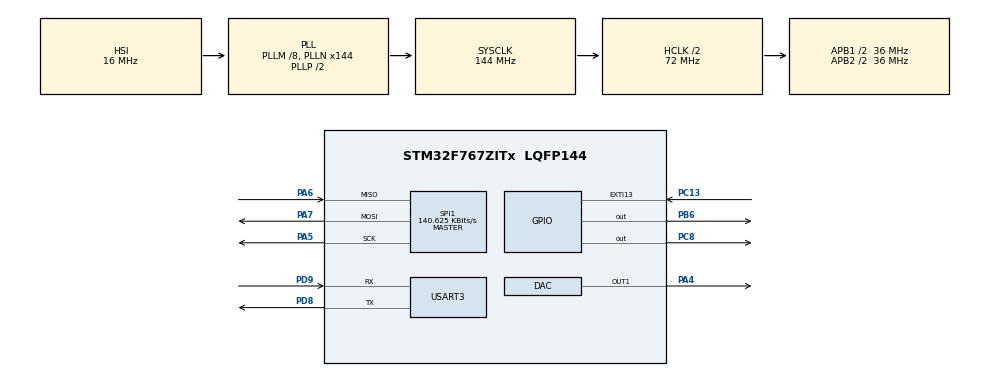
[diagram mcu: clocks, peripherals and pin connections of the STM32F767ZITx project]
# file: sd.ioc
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CORTEX_M7.default_mode_Activation=1
DAC.DAC_Trigger=DAC_TRIGGER_T6_TRGO
DAC.TriangleAmplitude=DAC_TRIANGLEAMPLITUDE_1
DAC.WaveGeneration=TriangleWaveGeneration
Dma.DAC1.0.Direction=DMA_MEMORY_TO_PERIPH
Dma.DAC1.0.FIFOMode=DMA_FIFOMODE_DISABLE
Dma.DAC1.0.Instance=DMA1_Stream5
Dma.DAC1.0.MemDataAlignment=DMA_MDATAALIGN_HALFWORD
Dma.DAC1.0.MemInc=DMA_MINC_ENABLE
Dma.DAC1.0.Mode=DMA_CIRCULAR
Dma.DAC1.0.PeriphDataAlignment=DMA_PDATAALIGN_HALFWORD
Dma.DAC1.0.PeriphInc=DMA_PINC_DISABLE
Dma.DAC1.0.Priority=DMA_PRIORITY_HIGH
Dma.Request0=DAC1
Mcu.Family=STM32F7
Mcu.Name=STM32F767ZITx
Mcu.Package=LQFP144
NVIC.DMA1_Stream5_IRQn=true\:3\:0\:true\:false\:true\:false\:true\:true
NVIC.EXTI15_10_IRQn=true\:0\:0\:true\:false\:true\:true\:true\:true
NVIC.PriorityGroup=NVIC_PRIORITYGROUP_2
NVIC.USART3_IRQn=true\:0\:0\:false\:false\:true\:true\:true\:true
PA4.Signal=COMP_DAC1_group
PA5.Mode=Full_Duplex_Master
PA5.Signal=SPI1_SCK
PA6.Mode=Full_Duplex_Master
PA6.Signal=SPI1_MISO
PA7.Mode=Full_Duplex_Master
PA7.Signal=SPI1_MOSI
PB6.Signal=GPIO_Output
PC13.Signal=GPXTI13
PC8.Signal=GPIO_Output
PD8.Mode=Asynchronous
PD8.Signal=USART3_TX
PD9.Mode=Asynchronous
PD9.Signal=USART3_RX
ProjectManager.HeapSize=0x200
ProjectManager.StackSize=0x400
ProjectManager.TargetToolchain=STM32CubeIDE
RCC.AHBCLKDivider=RCC_SYSCLK_DIV2
RCC.AHBFreq_Value=72000000
RCC.APB1CLKDivider=RCC_HCLK_DIV2
RCC.APB1Freq_Value=36000000
RCC.APB1TimFreq_Value=72000000
RCC.APB2CLKDivider=RCC_HCLK_DIV2
RCC.APB2Freq_Value=36000000
RCC.APB2TimFreq_Value=72000000
RCC.CortexFreq_Value=72000000
RCC.HCLKFreq_Value=72000000
RCC.HSE_VALUE=25000000
RCC.HSI_VALUE=16000000
RCC.LSE_VALUE=32768
RCC.PLLM=8
RCC.PLLN=144
RCC.SYSCLKFreq_VALUE=144000000
RCC.SYSCLKSource=RCC_SYSCLKSOURCE_PLLCLK
RCC.USBFreq_Value=144000000
RCC.VCOOutputFreq_Value=288000000
SH.COMP_DAC1_group.0=DAC_OUT1,DAC_OUT1
SPI1.BaudRatePrescaler=SPI_BAUDRATEPRESCALER_256
SPI1.CalculateBaudRate=140.625 KBits/s
SPI1.DataSize=SPI_DATASIZE_8BIT
SPI1.Direction=SPI_DIRECTION_2LINES
SPI1.Mode=SPI_MODE_MASTER
SPI1.VirtualType=VM_MASTER
TIM6.Period=44100
TIM6.Prescaler=72
TIM6.TIM_MasterOutputTrigger=TIM_TRGO_UPDATE
USART3.VirtualMode-Asynchronous=VM_ASYNC
VP_FATFS_VS_Generic.Mode=User_defined
VP_TIM6_VS_ClockSourceINT.Mode=Enable_Timer
board=custom

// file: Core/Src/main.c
/* USER CODE BEGIN Header */
/**
  ******************************************************************************
  * @file           : main.c
  * @brief          : Main program body
  ******************************************************************************
  * @attention
  *
  * Copyright (c) 2025 STMicroelectronics.
  * All rights reserved.
  *
  * This software is licensed under terms that can be found in the LICENSE file
  * in the root directory of this software component.
  * If no LICENSE file comes with this software, it is provided AS-IS.
  *
  ******************************************************************************
  */
/* USER CODE END Header */
#include "main.h"
#include "fatfs.h"

/* USER CODE BEGIN Includes */
#include <stdio.h>
#include <string.h>
/* USER CODE END Includes */

/* USER CODE BEGIN PTD */

#define WAVE_HEADER_SIZE 44
#define BUFFER_SIZE 512

FATFS FatFs;    // ไฟล์ระบบ FatFs
FRESULT res;    // ตัวแปรเก็บผลการทำงาน
UINT bytesRead;        // ตัวแปรเก็บจำนวนไบต์ที่อ่านได้
FILINFO fno;   // File information object
DIR dir;       // Directory object

//WAV_InfoTypeDef currentAudio;

#define WAV_FILE_NAME "0:/A16_44.wav"
#define DAC_OUTPUT_PIN    GPIO_PIN_4

FIL wavFile;

char buff[100];

uint8_t playFlag = 0;

/* USER CODE END PTD */

/* USER CODE BEGIN PD */

typedef struct {
    char riff[4];           // "RIFF"
    uint32_t chunkSize;     // ขนาดไฟล์
    char wave[4];           // "WAVE"
    char fmt[4];            // "fmt "
    uint32_t fmtSize;       // ขนาดของข้อมูล format
    uint16_t audioFormat;   // รูปแบบไฟล์ (PCM = 1)
    uint16_t numChannels;   // จำนวน Channel (1 = Mono, 2 = Stereo)
    uint32_t sampleRate;    // Sample Rate เช่น 44100 Hz
    uint32_t byteRate;      // จำนวน bytes per second
    uint16_t blockAlign;    // จำนวน byte ต่อ 1 sample
    uint16_t bitsPerSample; // จำนวน bit ต่อ 1 sample
    char data[4];           // "data"
    uint32_t dataSize;      // ขนาดของข้อมูลเสียง
} WAV_HEADER;

WAV_HEADER wavHeader;

#define BUFFER_SIZE 512
int16_t audioBuffer1[BUFFER_SIZE];
int16_t audioBuffer2[BUFFER_SIZE];
uint8_t activeBuffer = 0;
uint16_t dmaBuffer[BUFFER_SIZE];
volatile uint8_t bufferReady = 0;

/* USER CODE END PD */

DAC_HandleTypeDef hdac;
DMA_HandleTypeDef hdma_dac1;

SPI_HandleTypeDef hspi1;

TIM_HandleTypeDef htim6;

UART_HandleTypeDef huart3;

void SystemClock_Config(void);
static void MPU_Config(void);
static void MX_GPIO_Init(void);
static void MX_DMA_Init(void);
static void MX_SPI1_Init(void);
static void MX_USART3_UART_Init(void);
static void MX_DAC_Init(void);
static void MX_TIM6_Init(void);

/* USER CODE BEGIN 0 */

//void Convert_16bit_to_12bit(uint16_t *buffer, uint32_t length) {
//    for (uint32_t i = 0; i < length; i++) {
//        // ลดขนาดจาก 16-bit เป็น 12-bit และป้องกันค่าที่เกินขอบเขต
//        buffer[i] = (buffer[i] >> 4) & 0x0FFF;  // เฉพาะ 12 บิตแรก
//    }
//}

void Convert_16bit_to_12bit(int16_t *buffer, uint32_t samples) {
    for (uint32_t i = 0; i < samples; i++) {
        buffer[i] = ((int32_t)buffer[i] + 32768) >> 4;  // Shift and normalize
    }
}

//void Convert_16bit_to_12bit(int16_t *input, uint16_t *output, uint32_t samples) {
//    for (uint32_t i = 0; i < samples; i++) {
//        output[i] = ((int32_t)input[i] + 32768) >> 4;  // Convert to 12-bit
//    }
//}

FRESULT open_wav_file() {
    FRESULT res = f_mount(&FatFs, "", 1);

    // Mount SD card
	if (res != FR_OK) {
		memset(buff, 0, sizeof(buff));
		sprintf(buff, "Error mounting SD card! Error code: %d\r\n", res);
		HAL_UART_Transmit(&huart3, (uint8_t*)buff, sizeof(buff), 100);
		return res;
	}

	// เปิดไฟล์ WAV
	res = f_open(&wavFile, WAV_FILE_NAME, FA_READ);
    if (res != FR_OK) {
    	memset(buff, 0, sizeof(buff));
		sprintf(buff, "Error opening WAV file! Error code: %d\r\n", res);
		HAL_UART_Transmit(&huart3, (uint8_t*)buff, sizeof(buff), 100);
        return res;
    }

    // อ่าน WAV Header
    f_read(&wavFile, &wavHeader, sizeof(WAV_HEADER), &bytesRead);
	if (bytesRead != sizeof(WAV_HEADER) || wavHeader.audioFormat != 1) {
		memset(buff, 0, sizeof(buff));
		sprintf(buff, "Invalid WAV file!\r\n");
		HAL_UART_Transmit(&huart3, (uint8_t*)buff, sizeof(buff), 100);
		return FR_INVALID_OBJECT;
	}

	// แสดงข้อมูลของไฟล์ WAV
	memset(buff, 0, sizeof(buff));
	sprintf(buff, "Sample Rate: %lu Hz, Bits Per Sample: %d, Channels: %d\r\n",
	            wavHeader.sampleRate, wavHeader.bitsPerSample, wavHeader.numChannels);
	    HAL_UART_Transmit(&huart3, (uint8_t*)buff, sizeof(buff), 100);

    // ข้าม header ของไฟล์ WAV (44 bytes)
    f_lseek(&wavFile, 44);  // ข้าม header ของ WAV file
    if (res != FR_OK) {
		sprintf(buff, "Error seeking to WAV data chunk! Error code: %d\r\n", res);
		HAL_UART_Transmit(&huart3, (uint8_t*)buff, sizeof(buff), 100);
		return res;
	}
    return FR_OK;
}

// ฟังก์ชันในการแสดงรายการไฟล์ใน SD card
void list_files(const char* path) {
    // Mount SD card
    res = f_mount(&FatFs, "", 0);
    if (res != FR_OK) {
        sprintf(buff, "Error mounting SD card! Error code: %d\r\n", res);
        HAL_UART_Transmit(&huart3, (uint8_t*)buff, sizeof(buff), 100);
        return;
    }

    // เปิด directory
    res = f_opendir(&dir, path);
    if (res != FR_OK) {
    	sprintf(buff, "Error opening directory! Error code: %d\r\n", res);
    	HAL_UART_Transmit(&huart3, (uint8_t*)buff, sizeof(buff), 100);
        return;
    }

    // อ่านรายการไฟล์ใน directory
    sprintf(buff, "Files in directory '%s':\r\n", path);
    HAL_UART_Transmit(&huart3, (uint8_t*)buff, sizeof(buff), 100);
    while (1) {
        res = f_readdir(&dir, &fno);  // อ่านรายการไฟล์
        if (res != FR_OK || fno.fname[0] == 0) break;  // ไม่มีไฟล์ หรือหมดรายการ

        if (fno.fattrib & AM_DIR) {
            // ถ้าเป็น directory
        	sprintf(buff, "[DIR]  %s\r\n", fno.fname);
        	HAL_UART_Transmit(&huart3, (uint8_t*)buff, sizeof(buff), 100);
        } else {
            // ถ้าเป็นไฟล์
        	sprintf(buff, "      %s\r\n", fno.fname);
        	HAL_UART_Transmit(&huart3, (uint8_t*)buff, sizeof(buff), 100);
        }
    }

    // ปิด directory
    f_closedir(&dir);
}

// ฟังก์ชันในการอ่านข้อมูล PCM จากไฟล์ WAV และส่งไปที่ DAC
void play_wav_file() {
    uint16_t pcmData;
    // อ่านข้อมูล PCM จากไฟล์ (16-bit data)
    while (f_read(&wavFile, &pcmData, sizeof(pcmData), &bytesRead) == FR_OK) {
        if (bytesRead == 0) {
            break;  // ถ้าไม่มีข้อมูลให้หยุด
        }
        // ส่งข้อมูลไปที่ DAC
        HAL_DAC_SetValue(&hdac, DAC_CHANNEL_1, DAC_ALIGN_12B_R, pcmData);
    }
}

// เริ่มเล่น WAV file
void Play_WAV() {
    if (open_wav_file() != FR_OK) {
        return;
    }

    // โหลด Buffer แรกก่อนเริ่มเล่น
       f_read(&wavFile, audioBuffer1, BUFFER_SIZE * sizeof(uint16_t), &bytesRead);
       // ตรวจสอบว่าแปลงข้อมูลไหม
       Convert_16bit_to_12bit(audioBuffer1, bytesRead / 2);

       f_read(&wavFile, audioBuffer2, BUFFER_SIZE * sizeof(uint16_t), &bytesRead);
       Convert_16bit_to_12bit(audioBuffer2, bytesRead / 2);

//       sprintf(buff, "[audioBuffer1]  %d\r\n", audioBuffer1);
//		HAL_UART_Transmit(&huart3, (uint8_t*)buff, sizeof(buff), 100);

       // เริ่ม DAC + DMA (ใช้ Double Buffer)
       HAL_TIM_Base_Start(&htim6);
       HAL_DAC_Start_DMA(&hdac, DAC_CHANNEL_1, (uint32_t*)audioBuffer1, BUFFER_SIZE, DAC_ALIGN_12B_R);

       bufferReady = 0;  // เคลียร์ค่าเริ่มต้น

       while (1) {
           if (bufferReady) {
               int16_t *currentBuffer = (activeBuffer == 0) ? audioBuffer2 : audioBuffer1;

               // โหลดข้อมูลใหม่ใน Buffer ที่ไม่ได้ใช้งาน
               f_read(&wavFile, currentBuffer, BUFFER_SIZE * sizeof(uint16_t), &bytesRead);
               Convert_16bit_to_12bit(currentBuffer, bytesRead / 2);

               if (bytesRead == 0) {
                   break;  // ไฟล์จบแล้ว
               }

               bufferReady = 0;  // รอ Callback เรียกอีกครั้ง
           }
       }

       // หยุด DAC และ Timer
       HAL_DAC_Stop_DMA(&hdac, DAC_CHANNEL_1);
       HAL_TIM_Base_Stop(&htim6);
       f_close(&wavFile);
   }

   // DMA Callback - ใช้โหลด Buffer ใหม่
void HAL_DAC_ConvCpltCallbackCh1(DAC_HandleTypeDef *hdac) {
	activeBuffer = 1 - activeBuffer;  // สลับระหว่าง Buffer
	bufferReady = 1;  // แจ้งว่า buffer พร้อมใช้งาน
}

// ฟังก์ชันในการเล่นไฟล์ WAV
void play_audio() {
    if (open_wav_file() == FR_OK) {
    	sprintf(buff, "Playing WAV file...\r\n");
		HAL_UART_Transmit(&huart3, (uint8_t*)buff, sizeof(buff), 100);

//        play_wav_file();  // อ่านข้อมูลจาก WAV file และส่งไป DAC

//		HAL_TIM_Base_Start(&htim6);
//		HAL_DAC_Start(&hdac, DAC_CHANNEL_1); // เปิด DAC
        Play_WAV();
//        HAL_TIM_Base_Stop(&htim6);

        f_close(&wavFile);  // ปิดไฟล์หลังจากเล่นเสร็จ
    } else {
        // ถ้ามีข้อผิดพลาดในการเปิดไฟล์
    	sprintf(buff, "Error: Cannot open WAV file!\r\n");
		HAL_UART_Transmit(&huart3, (uint8_t*)buff, sizeof(buff), 100);
        Error_Handler();
    }
}

/* USER CODE END 0 */

int main(void)
{

  /* MPU Configuration--------------------------------------------------------*/
  MPU_Config();

  /* MCU Configuration--------------------------------------------------------*/

  /* Reset of all peripherals, Initializes the Flash interface and the Systick. */
  HAL_Init();

  /* Configure the system clock */
  SystemClock_Config();

  /* Initialize all configured peripherals */
  MX_GPIO_Init();
  MX_DMA_Init();
  MX_SPI1_Init();
  MX_FATFS_Init();
  MX_USART3_UART_Init();
  MX_DAC_Init();
  MX_TIM6_Init();
  /* USER CODE BEGIN 2 */
  HAL_DAC_Start(&hdac, DAC_CHANNEL_1);

  HAL_UART_Transmit(&huart3, (uint8_t*)"System Ready!\r\n", 15, 100);

//  sd_init();
  play_audio();
//  PlayWavFile("0:/A16_44.wav");

//  list_files("0:/");
//
//  // ทำการ mount SD Card
//     res = f_mount(&FatFs, "", 1);  // ไฟล์ระบบถูก mount ที่ "drive 0" ซึ่งหมายถึง SD Card
//     if (res != FR_OK) {
//         sprintf(buff, "Mount failed: %d\r\n", res);
//         HAL_UART_Transmit(&huart3, (uint8_t*)buff, sizeof(buff), 100);
//         return -1;
//     }
//
//     // เปิดไฟล์ "test.txt" สำหรับการอ่าน
//     res = f_open(&fil, "test.txt", FA_READ);
//     if (res != FR_OK) {
//         sprintf(buff, "File open failed: %d\r\n", res);
//         HAL_UART_Transmit(&huart3, (uint8_t*)buff, sizeof(buff), 100);
//
//
//         return -1;
//     }
//
//     // อ่านข้อมูลจากไฟล์
//     char buffer[128];  // ตั้งขนาด buffer ที่ใช้เก็บข้อมูล
//     res = f_read(&fil, buffer, sizeof(buffer) - 1, &bytesRead);  // อ่านข้อมูลจากไฟล์
//     if (res == FR_OK) {
//         buffer[br] = '\0';  // ใส่ NULL terminator ในข้อความที่อ่านมา
//         sprintf(buff, "Read from file: %s\r\n", buffer);
//         HAL_UART_Transmit(&huart3, (uint8_t*)buff, sizeof(buff), 100);
//     } else {
//         sprintf(buff, "Read failed: %d\r\n", res);
//         HAL_UART_Transmit(&huart3, (uint8_t*)buff, sizeof(buff), 100);
//     }

     // ปิดไฟล์
//     f_close(&fil);

     // ทำการ unmount SD Card
//     f_mount(NULL, "", 0);

  /* USER CODE END 2 */

  /* Infinite loop */
  while (1)
  {

  }
}

void SystemClock_Config(void)
{
  RCC_OscInitTypeDef RCC_OscInitStruct = {0};
  RCC_ClkInitTypeDef RCC_ClkInitStruct = {0};

  /** Configure the main internal regulator output voltage
  */
  __HAL_RCC_PWR_CLK_ENABLE();
  __HAL_PWR_VOLTAGESCALING_CONFIG(PWR_REGULATOR_VOLTAGE_SCALE3);

  /** Initializes the RCC Oscillators according to the specified parameters
  * in the RCC_OscInitTypeDef structure.
  */
  RCC_OscInitStruct.OscillatorType = RCC_OSCILLATORTYPE_HSI;
  RCC_OscInitStruct.HSIState = RCC_HSI_ON;
  RCC_OscInitStruct.HSICalibrationValue = RCC_HSICALIBRATION_DEFAULT;
  RCC_OscInitStruct.PLL.PLLState = RCC_PLL_ON;
  RCC_OscInitStruct.PLL.PLLSource = RCC_PLLSOURCE_HSI;
  RCC_OscInitStruct.PLL.PLLM = 8;
  RCC_OscInitStruct.PLL.PLLN = 144;
  RCC_OscInitStruct.PLL.PLLP = RCC_PLLP_DIV2;
  RCC_OscInitStruct.PLL.PLLQ = 2;
  RCC_OscInitStruct.PLL.PLLR = 2;
  if (HAL_RCC_OscConfig(&RCC_OscInitStruct) != HAL_OK)
  {
    Error_Handler();
  }

  /** Initializes the CPU, AHB and APB buses clocks
  */
  RCC_ClkInitStruct.ClockType = RCC_CLOCKTYPE_HCLK|RCC_CLOCKTYPE_SYSCLK
                              |RCC_CLOCKTYPE_PCLK1|RCC_CLOCKTYPE_PCLK2;
  RCC_ClkInitStruct.SYSCLKSource = RCC_SYSCLKSOURCE_PLLCLK;
  RCC_ClkInitStruct.AHBCLKDivider = RCC_SYSCLK_DIV2;
  RCC_ClkInitStruct.APB1CLKDivider = RCC_HCLK_DIV2;
  RCC_ClkInitStruct.APB2CLKDivider = RCC_HCLK_DIV2;

  if (HAL_RCC_ClockConfig(&RCC_ClkInitStruct, FLASH_LATENCY_2) != HAL_OK)
  {
    Error_Handler();
  }
}

static void MX_DAC_Init(void)
{

  DAC_ChannelConfTypeDef sConfig = {0};

  /** DAC Initialization
  */
  hdac.Instance = DAC;
  if (HAL_DAC_Init(&hdac) != HAL_OK)
  {
    Error_Handler();
  }

  /** DAC channel OUT1 config
  */
  sConfig.DAC_Trigger = DAC_TRIGGER_T6_TRGO;
  sConfig.DAC_OutputBuffer = DAC_OUTPUTBUFFER_ENABLE;
  if (HAL_DAC_ConfigChannel(&hdac, &sConfig, DAC_CHANNEL_1) != HAL_OK)
  {
    Error_Handler();
  }

  /** Configure Triangle wave generation on DAC OUT1
  */
  if (HAL_DACEx_TriangleWaveGenerate(&hdac, DAC_CHANNEL_1, DAC_TRIANGLEAMPLITUDE_1) != HAL_OK)
  {
    Error_Handler();
  }

}

static void MX_SPI1_Init(void)
{

  /* SPI1 parameter configuration*/
  hspi1.Instance = SPI1;
  hspi1.Init.Mode = SPI_MODE_MASTER;
  hspi1.Init.Direction = SPI_DIRECTION_2LINES;
  hspi1.Init.DataSize = SPI_DATASIZE_8BIT;
  hspi1.Init.CLKPolarity = SPI_POLARITY_LOW;
  hspi1.Init.CLKPhase = SPI_PHASE_1EDGE;
  hspi1.Init.NSS = SPI_NSS_SOFT;
  hspi1.Init.BaudRatePrescaler = SPI_BAUDRATEPRESCALER_256;
  hspi1.Init.FirstBit = SPI_FIRSTBIT_MSB;
  hspi1.Init.TIMode = SPI_TIMODE_DISABLE;
  hspi1.Init.CRCCalculation = SPI_CRCCALCULATION_DISABLE;
  hspi1.Init.CRCPolynomial = 7;
  hspi1.Init.CRCLength = SPI_CRC_LENGTH_DATASIZE;
  hspi1.Init.NSSPMode = SPI_NSS_PULSE_ENABLE;
  if (HAL_SPI_Init(&hspi1) != HAL_OK)
  {
    Error_Handler();
  }

}

static void MX_TIM6_Init(void)
{

  TIM_MasterConfigTypeDef sMasterConfig = {0};

  htim6.Instance = TIM6;
  htim6.Init.Prescaler = 1;
  htim6.Init.CounterMode = TIM_COUNTERMODE_UP;
  htim6.Init.Period = 815;
  htim6.Init.AutoReloadPreload = TIM_AUTORELOAD_PRELOAD_DISABLE;
  if (HAL_TIM_Base_Init(&htim6) != HAL_OK)
  {
    Error_Handler();
  }
  sMasterConfig.MasterOutputTrigger = TIM_TRGO_UPDATE;
  sMasterConfig.MasterSlaveMode = TIM_MASTERSLAVEMODE_DISABLE;
  if (HAL_TIMEx_MasterConfigSynchronization(&htim6, &sMasterConfig) != HAL_OK)
  {
    Error_Handler();
  }

}

static void MX_USART3_UART_Init(void)
{

  huart3.Instance = USART3;
  huart3.Init.BaudRate = 115200;
  huart3.Init.WordLength = UART_WORDLENGTH_8B;
  huart3.Init.StopBits = UART_STOPBITS_1;
  huart3.Init.Parity = UART_PARITY_NONE;
  huart3.Init.Mode = UART_MODE_TX_RX;
  huart3.Init.HwFlowCtl = UART_HWCONTROL_NONE;
  huart3.Init.OverSampling = UART_OVERSAMPLING_16;
  huart3.Init.OneBitSampling = UART_ONE_BIT_SAMPLE_DISABLE;
  huart3.AdvancedInit.AdvFeatureInit = UART_ADVFEATURE_NO_INIT;
  if (HAL_UART_Init(&huart3) != HAL_OK)
  {
    Error_Handler();
  }

}

static void MX_DMA_Init(void)
{

  /* DMA controller clock enable */
  __HAL_RCC_DMA1_CLK_ENABLE();

  /* DMA interrupt init */
  /* DMA1_Stream5_IRQn interrupt configuration */
  HAL_NVIC_SetPriority(DMA1_Stream5_IRQn, 3, 0);
  HAL_NVIC_EnableIRQ(DMA1_Stream5_IRQn);

}

static void MX_GPIO_Init(void)
{
  GPIO_InitTypeDef GPIO_InitStruct = {0};

  /* GPIO Ports Clock Enable */
  __HAL_RCC_GPIOC_CLK_ENABLE();
  __HAL_RCC_GPIOA_CLK_ENABLE();
  __HAL_RCC_GPIOD_CLK_ENABLE();
  __HAL_RCC_GPIOB_CLK_ENABLE();

  /*Configure GPIO pin Output Level */
  HAL_GPIO_WritePin(GPIOC, GPIO_PIN_8, GPIO_PIN_RESET);

  /*Configure GPIO pin Output Level */
  HAL_GPIO_WritePin(GPIOB, GPIO_PIN_6, GPIO_PIN_RESET);

  /*Configure GPIO pin : PC13 */
  GPIO_InitStruct.Pin = GPIO_PIN_13;
  GPIO_InitStruct.Mode = GPIO_MODE_IT_RISING;
  GPIO_InitStruct.Pull = GPIO_NOPULL;
  HAL_GPIO_Init(GPIOC, &GPIO_InitStruct);

  /*Configure GPIO pin : PC8 */
  GPIO_InitStruct.Pin = GPIO_PIN_8;
  GPIO_InitStruct.Mode = GPIO_MODE_OUTPUT_PP;
  GPIO_InitStruct.Pull = GPIO_NOPULL;
  GPIO_InitStruct.Speed = GPIO_SPEED_FREQ_LOW;
  HAL_GPIO_Init(GPIOC, &GPIO_InitStruct);

  /*Configure GPIO pin : PB6 */
  GPIO_InitStruct.Pin = GPIO_PIN_6;
  GPIO_InitStruct.Mode = GPIO_MODE_OUTPUT_PP;
  GPIO_InitStruct.Pull = GPIO_NOPULL;
  GPIO_InitStruct.Speed = GPIO_SPEED_FREQ_LOW;
  HAL_GPIO_Init(GPIOB, &GPIO_InitStruct);

  /* EXTI interrupt init*/
  HAL_NVIC_SetPriority(EXTI15_10_IRQn, 0, 0);
  HAL_NVIC_EnableIRQ(EXTI15_10_IRQn);

}

 /* MPU Configuration */

void MPU_Config(void)
{
  MPU_Region_InitTypeDef MPU_InitStruct = {0};

  /* Disables the MPU */
  HAL_MPU_Disable();

  /** Initializes and configures the Region and the memory to be protected
  */
  MPU_InitStruct.Enable = MPU_REGION_ENABLE;
  MPU_InitStruct.Number = MPU_REGION_NUMBER0;
  MPU_InitStruct.BaseAddress = 0x0;
  MPU_InitStruct.Size = MPU_REGION_SIZE_4GB;
  MPU_InitStruct.SubRegionDisable = 0x87;
  MPU_InitStruct.TypeExtField = MPU_TEX_LEVEL0;
  MPU_InitStruct.AccessPermission = MPU_REGION_NO_ACCESS;
  MPU_InitStruct.DisableExec = MPU_INSTRUCTION_ACCESS_DISABLE;
  MPU_InitStruct.IsShareable = MPU_ACCESS_SHAREABLE;
  MPU_InitStruct.IsCacheable = MPU_ACCESS_NOT_CACHEABLE;
  MPU_InitStruct.IsBufferable = MPU_ACCESS_NOT_BUFFERABLE;

  HAL_MPU_ConfigRegion(&MPU_InitStruct);
  /* Enables the MPU */
  HAL_MPU_Enable(MPU_PRIVILEGED_DEFAULT);

}

void Error_Handler(void)
{
  __disable_irq();
  while (1)
  {
  }
}
